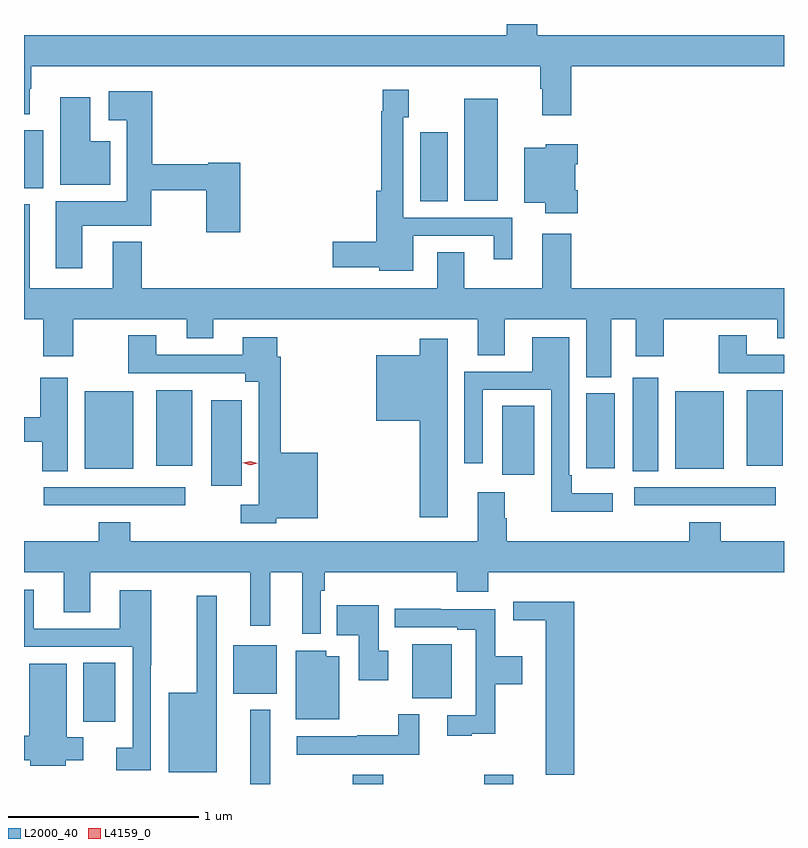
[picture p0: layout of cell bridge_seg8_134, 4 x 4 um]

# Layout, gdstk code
import gdstk
lib = gdstk.Library(unit=1e-6, precision=1e-09)
def R(c, l, rs):  # rectangles x0, y0, x1, y1
    for r in rs: c.add(gdstk.rectangle(r[:2], r[2:], *l))
def P(c, l, *ps):  # polygons
    for p in ps: c.add(gdstk.Polygon(p, *l))
L2000_40 = (2000, 40)
L4159_0 = (4159, 0)

bridge_seg8_134 = lib.new_cell('bridge_seg8_134')
R(bridge_seg8_134, L2000_40, [(456.833,1146.022,456.937,1146.412), (457.372,1146.022,457.532,1146.07), (458.063,1146.022,458.215,1146.07), (455.954,1146.349,456.121,1146.659), (457.685,1146.473,457.891,1146.757), (456.743,1146.497,456.97,1146.751), (455.745,1147.488,456.49,1147.584), (458.853,1147.488,459.598,1147.584), (456.626,1147.593,456.787,1148.041), (458.159,1147.65,458.326,1148.012), (458.846,1147.669,458.98,1148.161), (455.96,1147.682,456.217,1148.089), (459.068,1147.682,459.325,1148.089), (458.6,1147.683,458.749,1148.079), (456.338,1147.697,456.526,1148.095), (459.446,1147.697,459.634,1148.095), (457.727,1149.088,457.87,1149.451), (457.958,1149.092,458.134,1149.628), (455.641,1149.158,455.743,1149.463)])
P(bridge_seg8_134, L2000_40, [(458.522,1149.8),(459.641,1149.8),(459.641,1149.964),(458.343,1149.964),(458.343,1150.022),(458.183,1150.022),(458.183,1149.964),(455.641,1149.964),(455.641,1149.548),(455.671,1149.548),(455.671,1149.68),(455.679,1149.68),(455.679,1149.8),(458.357,1149.8),(458.357,1149.68),(458.369,1149.68),(458.369,1149.543),(458.522,1149.543)],
  [(457.69,1148.907),(458.114,1148.907),(458.114,1148.784),(458.212,1148.784),(458.212,1149.003),(457.638,1149.003),(457.638,1149.531),(457.665,1149.531),(457.665,1149.676),(457.53,1149.676),(457.53,1149.563),(457.522,1149.563),(457.522,1149.145),(457.496,1149.145),(457.496,1148.876),(457.266,1148.876),(457.266,1148.741),(457.512,1148.741),(457.512,1148.723),(457.69,1148.723)],
  [(455.947,1148.96),(456.312,1148.96),(456.312,1149.148),(456.601,1149.148),(456.601,1148.925),(456.779,1148.925),(456.779,1149.292),(456.612,1149.292),(456.612,1149.284),(456.317,1149.284),(456.317,1149.667),(456.087,1149.667),(456.087,1149.515),(456.182,1149.515),(456.182,1149.088),(455.807,1149.088),(455.807,1148.736),(455.947,1148.736)],
  [(456.094,1149.406),(455.989,1149.406),(455.989,1149.637),(455.831,1149.637),(455.831,1149.176),(456.094,1149.176)],
  [(458.555,1149.148),(458.542,1149.148),(458.542,1149.284),(458.555,1149.284),(458.555,1149.388),(458.388,1149.388),(458.388,1149.37),(458.273,1149.37),(458.273,1149.08),(458.384,1149.08),(458.384,1149.026),(458.555,1149.026)],
  [(455.671,1149.073),(455.641,1149.073),(455.641,1148.468),(455.741,1148.468),(455.741,1148.274),(455.901,1148.274),(455.901,1148.468),(456.497,1148.468),(456.497,1148.369),(456.637,1148.369),(456.637,1148.468),(458.03,1148.468),(458.03,1148.278),(458.17,1148.278),(458.17,1148.468),(458.6,1148.468),(458.6,1148.164),(458.731,1148.164),(458.731,1148.468),(458.861,1148.468),(458.861,1148.274),(459.009,1148.274),(459.009,1148.468),(459.605,1148.468),(459.605,1148.369),(459.641,1148.369),(459.641,1148.632),(458.522,1148.632),(458.522,1148.917),(458.369,1148.917),(458.369,1148.632),(457.957,1148.632),(457.957,1148.822),(457.817,1148.822),(457.817,1148.632),(456.26,1148.632),(456.26,1148.875),(456.107,1148.875),(456.107,1148.632),(455.671,1148.632)],
  [(459.641,1148.28),(459.445,1148.28),(459.445,1148.383),(459.298,1148.383),(459.298,1148.184),(459.641,1148.184)],
  [(456.969,1147.421),(457.186,1147.421),(457.186,1147.765),(456.992,1147.765),(456.992,1148.27),(456.973,1148.27),(456.973,1148.374),(456.791,1148.374),(456.791,1148.28),(456.337,1148.28),(456.337,1148.383),(456.19,1148.383),(456.19,1148.184),(456.806,1148.184),(456.806,1148.138),(456.876,1148.138),(456.876,1147.491),(456.783,1147.491),(456.783,1147.395),(456.969,1147.395)],
  [(458.74,1147.552),(458.524,1147.552),(458.524,1147.648),(458.511,1147.648),(458.511,1148.374),(458.315,1148.374),(458.315,1148.193),(457.959,1148.193),(457.959,1147.71),(458.055,1147.71),(458.055,1148.097),(458.415,1148.097),(458.415,1147.454),(458.74,1147.454)],
  [(457.87,1148.365),(457.724,1148.365),(457.724,1148.278),(457.496,1148.278),(457.496,1147.934),(457.724,1147.934),(457.724,1147.425),(457.87,1147.425)],
  [(455.872,1148.161),(455.726,1148.161),(455.726,1147.953),(455.641,1147.953),(455.641,1147.823),(455.738,1147.823),(455.738,1147.669),(455.872,1147.669)],
  [(457.203,1147.04),(457.223,1147.04),(457.223,1147.136),(457.919,1147.136),(457.919,1147.034),(458.084,1147.034),(458.084,1147.136),(459.641,1147.136),(459.641,1147.3),(459.308,1147.3),(459.308,1147.399),(459.143,1147.399),(459.143,1147.3),(458.183,1147.3),(458.183,1147.421),(458.17,1147.421),(458.17,1147.558),(458.03,1147.558),(458.03,1147.3),(456.2,1147.3),(456.2,1147.399),(456.035,1147.399),(456.035,1147.3),(455.641,1147.3),(455.641,1147.136),(455.849,1147.136),(455.849,1146.925),(455.989,1146.925),(455.989,1147.136),(456.833,1147.136),(456.833,1146.855),(456.937,1146.855),(456.937,1147.136),(457.106,1147.136),(457.106,1146.813),(457.203,1146.813)],
  [(456.309,1146.647),(456.312,1146.647),(456.312,1147.042),(456.146,1147.042),(456.146,1146.84),(455.692,1146.84),(455.692,1147.045),(455.641,1147.045),(455.641,1146.744),(456.213,1146.744),(456.213,1146.214),(456.126,1146.214),(456.126,1146.095),(456.309,1146.095)],
  [(456.655,1147.012),(456.551,1147.012),(456.551,1146.502),(456.404,1146.502),(456.404,1146.083),(456.655,1146.083)],
  [(458.537,1146.982),(458.217,1146.982),(458.217,1146.884),(458.387,1146.884),(458.387,1146.072),(458.537,1146.072)],
  [(457.558,1146.723),(457.507,1146.723),(457.507,1146.964),(457.288,1146.964),(457.288,1146.806),(457.403,1146.806),(457.403,1146.567),(457.558,1146.567)],
  [(457.997,1146.287),(458.12,1146.287),(458.12,1146.547),(458.263,1146.547),(458.263,1146.694),(458.12,1146.694),(458.12,1146.942),(457.835,1146.942),(457.835,1146.944),(457.593,1146.944),(457.593,1146.846),(457.922,1146.846),(457.922,1146.834),(458.019,1146.834),(458.019,1146.384),(457.869,1146.384),(457.869,1146.276),(457.997,1146.276)],
  [(457.3,1146.694),(457.231,1146.694),(457.231,1146.724),(457.07,1146.724),(457.07,1146.362),(457.3,1146.362)],
  [(455.862,1146.146),(455.953,1146.146),(455.953,1146.268),(455.866,1146.268),(455.866,1146.655),(455.669,1146.655),(455.669,1146.276),(455.641,1146.276),(455.641,1146.146),(455.673,1146.146),(455.673,1146.119),(455.862,1146.119)],
  [(457.72,1146.388),(457.611,1146.388),(457.611,1146.278),(457.396,1146.278),(457.396,1146.273),(457.077,1146.273),(457.077,1146.177),(457.72,1146.177)])
P(bridge_seg8_134, L4159_0, [(456.831,1147.7),(456.791,1147.712),(456.791,1147.712),(456.791,1147.712),(456.831,1147.72),(456.871,1147.709),(456.872,1147.709),(456.871,1147.709)])

lib.write_gds('bridge_seg8_134.gds')
